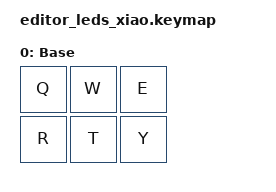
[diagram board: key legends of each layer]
#include <behaviors.dtsi>
#include <dt-bindings/zmk/keys.h>

/ {
    keymap {
        compatible = "zmk,keymap";

        default_layer {
            display-name = "Base";
            // | Q | W | E |
            // | R | T | Y |
            bindings = <
                &kp Q  &kp W  &kp E
                &kp R  &kp T  &kp Y
            >;
        };
    };
};
